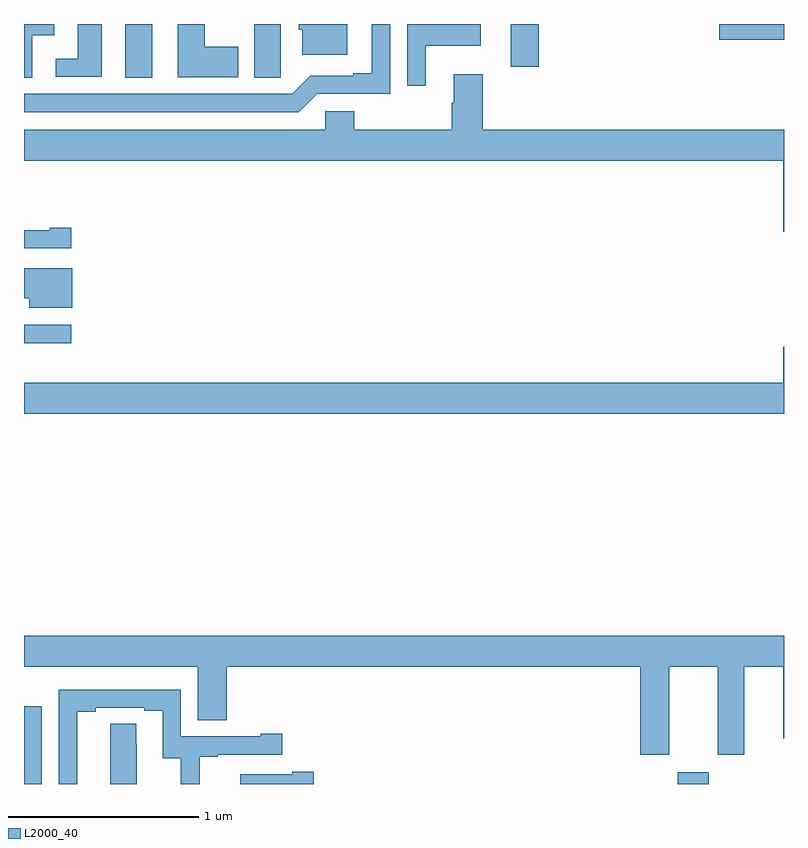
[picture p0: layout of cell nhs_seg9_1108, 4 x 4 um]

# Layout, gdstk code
import gdstk
lib = gdstk.Library(unit=1e-6, precision=1e-09)
def R(c, l, rs):  # rectangles x0, y0, x1, y1
    for r in rs: c.add(gdstk.rectangle(r[:2], r[2:], *l))
def P(c, l, *ps):  # polygons
    for p in ps: c.add(gdstk.Polygon(p, *l))
L2000_40 = (2000, 40)

nhs_seg9_1108 = lib.new_cell('nhs_seg9_1108')
R(nhs_seg9_1108, L2000_40, [(173,1166.5,173.094,1166.909), (176.441,1166.5,176.605,1166.563), (173,1168.821,173.248,1168.917), (173.534,1170.217,173.674,1170.5), (175.562,1170.276,175.709,1170.5), (176.658,1170.418,177,1170.5)])
P(nhs_seg9_1108, L2000_40, [(174.351,1170.328),(174.352,1170.328),(174.352,1170.5),(174.212,1170.5),(174.212,1170.217),(174.351,1170.217)],
  [(174.7,1170.5),(174.446,1170.5),(174.446,1170.471),(174.464,1170.471),(174.464,1170.338),(174.7,1170.338)],
  [(174.127,1170.381),(173.95,1170.381),(173.95,1170.5),(173.81,1170.5),(173.81,1170.221),(174.127,1170.221)],
  [(175.114,1170.386),(175.405,1170.386),(175.405,1170.5),(175.017,1170.5),(175.017,1170.174),(175.114,1170.174)],
  [(173.41,1170.5),(173.282,1170.5),(173.282,1170.318),(173.166,1170.318),(173.166,1170.222),(173.41,1170.222)],
  [(174.543,1170.132),(174.927,1170.132),(174.927,1170.5),(174.83,1170.5),(174.83,1170.241),(174.734,1170.241),(174.734,1170.228),(174.507,1170.228),(174.411,1170.132),(173,1170.132),(173,1170.036),(174.447,1170.036)],
  [(173.044,1170.44),(173.158,1170.44),(173.158,1170.5),(173,1170.5),(173,1170.217),(173.044,1170.217)],
  [(177,1169.944),(175.415,1169.944),(175.415,1170.235),(175.262,1170.235),(175.262,1170.086),(175.25,1170.086),(175.25,1169.944),(174.737,1169.944),(174.737,1170.042),(174.585,1170.042),(174.585,1169.944),(173,1169.944),(173,1169.78),(176.996,1169.78),(176.996,1169.406),(177,1169.406)],
  [(173.248,1169.428),(173.135,1169.428),(173.135,1169.415),(173,1169.415),(173,1169.319),(173.248,1169.319)],
  [(173.254,1169.215),(173,1169.215),(173,1169.057),(173.027,1169.057),(173.027,1169.006),(173.254,1169.006)],
  [(177,1168.801),(176.996,1168.801),(176.996,1168.612),(173,1168.612),(173,1168.448),(177,1168.448)],
  [(176.395,1167.116),(176.651,1167.116),(176.651,1166.655),(176.791,1166.655),(176.791,1167.116),(176.996,1167.116),(176.996,1166.742),(177,1166.742),(177,1167.28),(173,1167.28),(173,1167.116),(173.915,1167.116),(173.915,1166.836),(174.068,1166.836),(174.068,1167.116),(176.243,1167.116),(176.243,1166.655),(176.395,1166.655)],
  [(173.281,1166.881),(173.377,1166.881),(173.377,1166.901),(173.633,1166.901),(173.633,1166.886),(173.729,1166.886),(173.729,1166.635),(173.824,1166.635),(173.824,1166.5),(173.924,1166.5),(173.924,1166.643),(174.019,1166.643),(174.019,1166.655),(174.358,1166.655),(174.358,1166.764),(174.245,1166.764),(174.245,1166.751),(173.826,1166.751),(173.826,1166.997),(173.184,1166.997),(173.184,1166.5),(173.281,1166.5)],
  [(173.593,1166.708),(173.592,1166.708),(173.592,1166.816),(173.453,1166.816),(173.453,1166.5),(173.593,1166.5)],
  [(174.526,1166.564),(174.413,1166.564),(174.413,1166.551),(174.137,1166.551),(174.137,1166.5),(174.526,1166.5)])

lib.write_gds('nhs_seg9_1108.gds')
